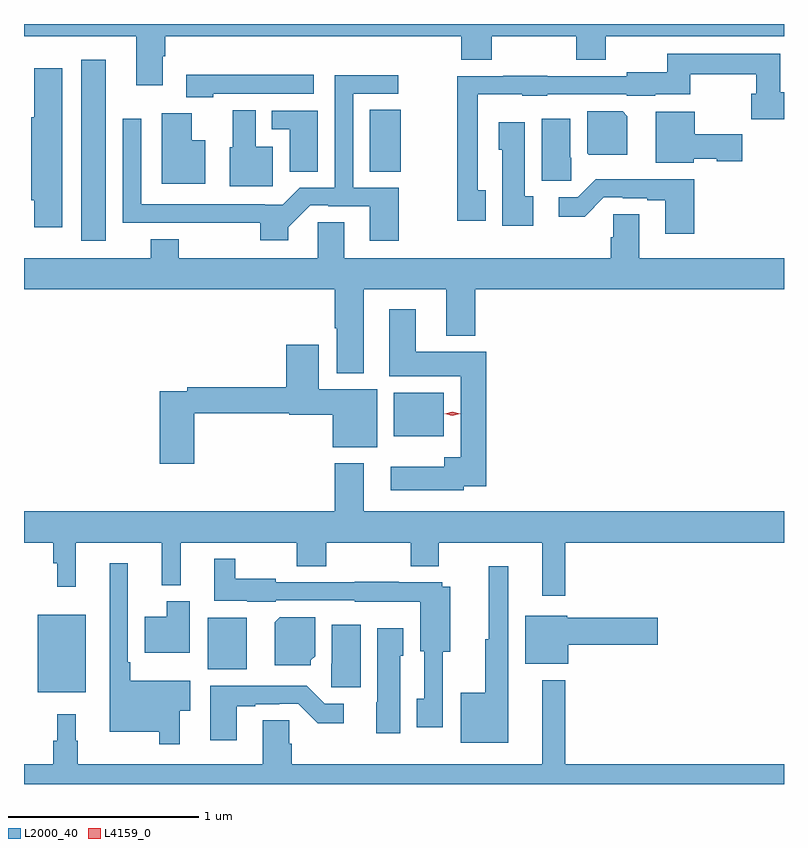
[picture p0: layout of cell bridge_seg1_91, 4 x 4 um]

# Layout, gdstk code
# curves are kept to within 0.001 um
import gdstk
lib = gdstk.Library(unit=1e-6, precision=1e-09)
def R(c, l, rs):  # rectangles x0, y0, x1, y1
    for r in rs: c.add(gdstk.rectangle(r[:2], r[2:], *l))
def P(c, l, *ps):  # polygons
    for p in ps: c.add(gdstk.Polygon(p, *l))
L2000_40 = (2000, 40)
L4159_0 = (4159, 0)

bridge_seg1_91 = lib.new_cell('bridge_seg1_91')
R(bridge_seg1_91, L2000_40, [(179.12,509.651,179.374,510.061), (180.014,509.774,180.22,510.044), (180.995,510.998,181.258,511.228), (179.348,512.028,179.479,512.98), (180.869,512.392,181.03,512.717)])
P(bridge_seg1_91, L2000_40, [(179.779,512.998),(179.792,512.998),(179.792,513.104),(181.349,513.104),(181.349,512.98),(181.509,512.98),(181.509,513.104),(181.954,513.104),(181.954,512.98),(182.109,512.98),(182.109,513.104),(183.048,513.104),(183.048,513.169),(179.048,513.169),(179.048,513.104),(179.639,513.104),(179.639,512.847),(179.779,512.847)],
  [(181.477,512.294),(181.437,512.294),(181.437,512.798),(181.671,512.798),(181.671,512.792),(181.803,512.792),(181.803,512.799),(182.22,512.799),(182.22,512.792),(182.37,512.792),(182.37,512.798),(182.554,512.798),(182.554,512.904),(182.901,512.904),(182.901,512.803),(182.875,512.803),(182.875,512.669),(183.048,512.669),(183.048,512.811),(183.029,512.811),(183.029,513.012),(182.433,513.012),(182.433,512.914),(182.22,512.914),(182.22,512.895),(181.803,512.895),(181.803,512.897),(181.571,512.897),(181.571,512.895),(181.329,512.895),(181.329,512.133),(181.477,512.133)],
  [(179.248,512.935),(179.102,512.935),(179.102,512.677),(179.087,512.677),(179.087,512.241),(179.102,512.241),(179.102,512.1),(179.248,512.1)],
  [(180.045,512.801),(180.574,512.801),(180.574,512.902),(179.901,512.902),(179.901,512.783),(180.045,512.783)],
  [(181.02,512.307),(180.78,512.307),(180.78,512.802),(181.018,512.802),(181.018,512.9),(180.684,512.9),(180.684,512.307),(180.5,512.307),(180.41,512.217),(180.314,512.217),(180.314,512.22),(179.664,512.22),(179.664,512.671),(179.568,512.671),(179.568,512.124),(180.292,512.123),(180.292,512.03),(180.439,512.03),(180.439,512.098),(180.555,512.214),(180.649,512.214),(180.649,512.211),(180.869,512.211),(180.869,512.028),(181.02,512.028)],
  [(180.358,512.524),(180.268,512.524),(180.268,512.716),(180.146,512.716),(180.146,512.52),(180.131,512.52),(180.131,512.315),(180.358,512.315)],
  [(180.595,512.712),(180.353,512.712),(180.353,512.616),(180.446,512.616),(180.446,512.392),(180.595,512.392)],
  [(182.224,512.684),(182.198,512.71),(182.012,512.71),(182.012,512.488),(182.02,512.48),(182.224,512.48)],
  [(182.574,512.459),(182.694,512.459),(182.694,512.447),(182.827,512.447),(182.827,512.589),(182.578,512.589),(182.578,512.708),(182.372,512.708),(182.372,512.438),(182.574,512.438)],
  [(180.001,512.557),(179.932,512.557),(179.932,512.698),(179.774,512.698),(179.774,512.327),(180.001,512.327)],
  [(181.928,512.466),(181.924,512.466),(181.924,512.671),(181.772,512.671),(181.772,512.343),(181.928,512.343)],
  [(181.729,512.262),(181.684,512.262),(181.684,512.653),(181.547,512.653),(181.547,512.508),(181.565,512.508),(181.565,512.108),(181.729,512.108)],
  [(182.576,512.351),(182.057,512.351),(181.962,512.256),(181.863,512.256),(181.863,512.154),(181.998,512.154),(182.1,512.256),(182.2,512.256),(182.2,512.253),(182.327,512.253),(182.327,512.241),(182.423,512.241),(182.423,512.064),(182.576,512.064)],
  [(180.835,511.772),(181.271,511.772),(181.271,511.529),(181.424,511.529),(181.424,511.772),(183.048,511.772),(183.048,511.936),(182.287,511.936),(182.287,512.168),(182.148,512.168),(182.148,512.046),(182.135,512.046),(182.135,511.936),(180.733,511.936),(180.733,512.126),(180.594,512.126),(180.594,511.936),(179.862,511.936),(179.862,512.035),(179.714,512.035),(179.714,511.936),(179.048,511.936),(179.048,511.772),(180.683,511.772),(180.683,511.567),(180.695,511.567),(180.695,511.331),(180.835,511.331)],
  [(181.362,510.737),(181.481,510.737),(181.481,511.444),(181.111,511.444),(181.111,511.669),(180.971,511.669),(180.971,511.316),(181.346,511.316),(181.346,510.889),(181.259,510.889),(181.259,510.838),(180.978,510.838),(180.978,510.716),(181.362,510.716)],
  [(179.945,511.12),(180.444,511.12),(180.444,511.112),(180.674,511.112),(180.674,510.941),(180.907,510.941),(180.907,511.246),(180.598,511.246),(180.598,511.48),(180.428,511.48),(180.428,511.256),(179.908,511.256),(179.908,511.236),(179.762,511.236),(179.762,510.855),(179.945,510.855)],
  [(181.897,510.44),(183.048,510.44),(183.048,510.604),(180.835,510.604),(180.835,510.856),(180.683,510.856),(180.683,510.604),(179.048,510.604),(179.048,510.44),(179.203,510.44),(179.203,510.332),(179.222,510.332),(179.222,510.207),(179.321,510.207),(179.321,510.44),(179.774,510.44),(179.774,510.215),(179.873,510.215),(179.873,510.44),(180.484,510.44),(180.484,510.316),(180.639,510.316),(180.639,510.44),(181.084,510.44),(181.084,510.316),(181.231,510.316),(181.231,510.44),(181.775,510.44),(181.775,510.159),(181.897,510.159)],
  [(181.251,509.864),(181.291,509.864),(181.291,510.208),(181.248,510.208),(181.248,510.231),(181.021,510.231),(181.021,510.233),(180.789,510.233),(180.789,510.231),(180.372,510.231),(180.372,510.25),(180.16,510.25),(180.16,510.355),(180.05,510.355),(180.05,510.134),(180.222,510.134),(180.222,510.128),(180.372,510.128),(180.372,510.135),(180.789,510.135),(180.789,510.128),(181.133,510.128),(181.133,509.868),(181.155,509.868),(181.155,509.617),(181.115,509.617),(181.115,509.469),(181.251,509.469)],
  [(179.869,509.555),(179.923,509.555),(179.923,509.713),(179.608,509.713),(179.608,509.809),(179.595,509.809),(179.595,510.331),(179.499,510.331),(179.499,509.444),(179.76,509.444),(179.76,509.379),(179.869,509.379)],
  [(181.597,510.316),(181.493,510.316),(181.493,509.931),(181.475,509.931),(181.475,509.65),(181.346,509.65),(181.346,509.387),(181.597,509.387)],
  [(179.92,510.13),(179.798,510.13),(179.798,510.049),(179.684,510.049),(179.684,509.861),(179.92,509.861)],
  [(181.912,509.903),(182.383,509.903),(182.383,510.045),(181.908,510.045),(181.908,510.055),(181.685,510.055),(181.685,509.801),(181.912,509.801)],
  [(180.558,509.82),(180.58,509.842),(180.58,510.046),(180.394,510.046),(180.368,510.02),(180.368,509.795),(180.558,509.795)],
  [(180.82,510.007),(180.668,510.007),(180.668,509.802),(180.664,509.802),(180.664,509.679),(180.82,509.679)],
  [(181.027,509.844),(181.045,509.844),(181.045,509.989),(180.908,509.989),(180.908,509.598),(180.902,509.598),(180.902,509.436),(181.027,509.436)],
  [(183.048,509.272),(181.897,509.272),(181.897,509.716),(181.775,509.716),(181.775,509.272),(180.458,509.272),(180.458,509.382),(180.444,509.382),(180.444,509.504),(180.305,509.504),(180.305,509.272),(179.332,509.272),(179.332,509.396),(179.32,509.396),(179.32,509.536),(179.222,509.536),(179.222,509.396),(179.203,509.396),(179.203,509.272),(179.048,509.272),(179.048,509.169),(183.048,509.169)],
  [(180.169,509.577),(180.265,509.577),(180.265,509.589),(180.392,509.589),(180.392,509.592),(180.492,509.592),(180.595,509.49),(180.73,509.49),(180.73,509.592),(180.63,509.592),(180.536,509.686),(180.029,509.686),(180.029,509.4),(180.169,509.4)])
P(bridge_seg1_91, L4159_0, [(181.303,511.108),(181.262,511.117),(181.262,511.117),(181.262,511.118),(181.303,511.128),(181.343,511.118),(181.344,511.118),(181.343,511.118)])

lib.write_gds('bridge_seg1_91.gds')
